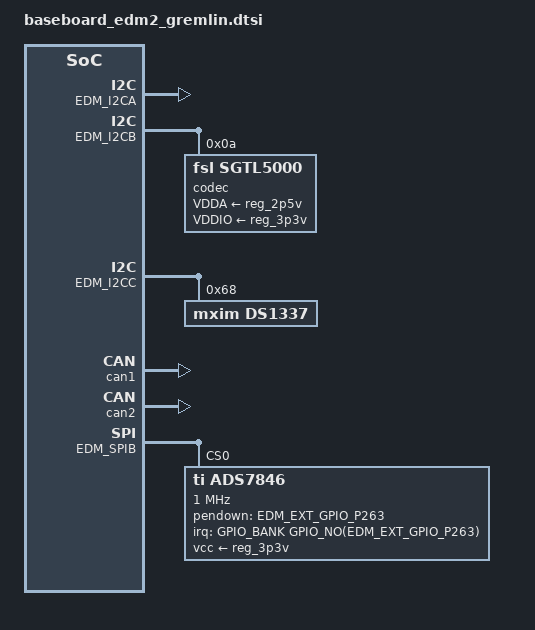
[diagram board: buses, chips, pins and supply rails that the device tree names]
/*
 * Copyright 2017 Technexion Ltd.
 *
 * Author: Tapani Utriainen <tapani@technexion.com>
 *
 * This program is free software; you can redistribute it and/or modify
 * it under the terms of the GNU General Public License version 2 as
 * published by the Free Software Foundation.
 *
 */

#include "tnmacro.h"

/ {
	gpio-edm {
		compatible = "gpio-edm";

		gpio_p255 {
			label = "GPIO_P255";
			gpios = <&EDM_EXT_GPIO_P255 GPIO_ACTIVE_HIGH>;
			dir   = "out";
		};
		gpio_p256 {
			label = "GPIO_P256";
			gpios = <&EDM_EXT_GPIO_P256 GPIO_ACTIVE_HIGH>;
			dir   = "out";
		};
		gpio_p257 {
			label = "GPIO_P257";
			gpios = <&EDM_EXT_GPIO_P257 GPIO_ACTIVE_HIGH>;
			dir   = "out";
		};
		gpio_p258 {
			label = "GPIO_P258";
			gpios = <&EDM_EXT_GPIO_P258 GPIO_ACTIVE_HIGH>;
			dir   = "out";
		};
		gpio_p259 {
			label = "GPIO_P259";
			gpios = <&EDM_EXT_GPIO_P259 GPIO_ACTIVE_HIGH>;
			dir   = "out";
		};
		gpio_p260 {
			label = "GPIO_P260";
			gpios = <&EDM_EXT_GPIO_P260 GPIO_ACTIVE_HIGH>;
			dir   = "out";
		};
		gpio_p261 {
			label = "GPIO_P261";
			gpios = <&EDM_EXT_GPIO_P261 GPIO_ACTIVE_HIGH>;
			dir   = "out";
		};
		gpio_p262 {
			label = "GPIO_P262";
			gpios = <&EDM_EXT_GPIO_P262 GPIO_ACTIVE_HIGH>;
			dir   = "out";
		};
		gpio_p263 {
			label = "GPIO_P263";
			gpios = <&EDM_EXT_GPIO_P263 GPIO_ACTIVE_HIGH>;
			dir   = "out";
		};
		gpio_p264 {
			label = "GPIO_P264";
			gpios = <&EDM_EXT_GPIO_P264 GPIO_ACTIVE_HIGH>;
			dir   = "out";
		};
	};

	sound {
		compatible = "fsl,imx-sgtl5000",
			     "fsl,imx-audio-sgtl5000";
		model = "audio-sgtl5000";
		ssi-controller = <&EDM_AUDA_I2S_CHANNEL>;
		audio-codec = <&codec>;
		audio-routing =
			"MIC_IN", "Mic Jack",
			"Mic Jack", "Mic Bias",
			"Headphone Jack", "HP_OUT";
#if defined(EDM_AUDA_MUX_INT) && defined(EDM_AUDA_MUX_EXT)
		mux-int-port = <EDM_AUDA_MUX_INT>;
		mux-ext-port = <EDM_AUDA_MUX_EXT>;
#else
		fsl,no-audmux = "true";
#endif
	};
};

&EDM_I2CA {
	status = "okay";
};

&EDM_I2CB {
	status = "okay";

	codec: sgtl5000@0a {
		compatible = "fsl,sgtl5000";
		reg = <0x0a>;
		clocks = <&EDM_AUDA_CLK_SRC>;
		VDDA-supply = <&reg_2p5v>;
		VDDIO-supply = <&reg_3p3v>;
	};
};

&EDM_I2CC {
	status = "okay";

	ds1337: rtc@68 {
		compatible = "mxim,ds1337";
		reg = <0x68>;
	};
};

&can1 {
	status = "okay";
};

&can2 {
	status = "okay";
};

&EDM_SPIB {
	status = "okay";

	ads7846@0 {
		reg = <0>;  /* CS0 */
		compatible = "ti,ads7846";
		interrupt-parent = <&GPIO_BANK(EDM_EXT_GPIO_P263)>;
		interrupts = <GPIO_NO(EDM_EXT_GPIO_P263) GPIO_ACTIVE_HIGH>;
		spi-max-frequency = <1000000>;
		pendown-gpio = <&EDM_EXT_GPIO_P263 GPIO_ACTIVE_HIGH>;
		vcc-supply = <&reg_3p3v>;

		ti,x-min = /bits/ 16 <0>;
		ti,x-max = /bits/ 16 <4095>;
		ti,y-min = /bits/ 16 <0>;
		ti,y-max = /bits/ 16 <4095>;
		ti,pressure-max = /bits/ 16 <1024>;
		ti,x-plate-ohms = /bits/ 16 <90>;
		ti,y-plate-ohms = /bits/ 16 <90>;
		ti,debounce-max = /bits/ 16 <70>;
		ti,debounce-tol = /bits/ 16 <3>;
		ti,debounce-rep = /bits/ 16 <2>;
		ti,settle-delay-usec = /bits/ 16 <150>;

		linux,wakeup;
	};
};
